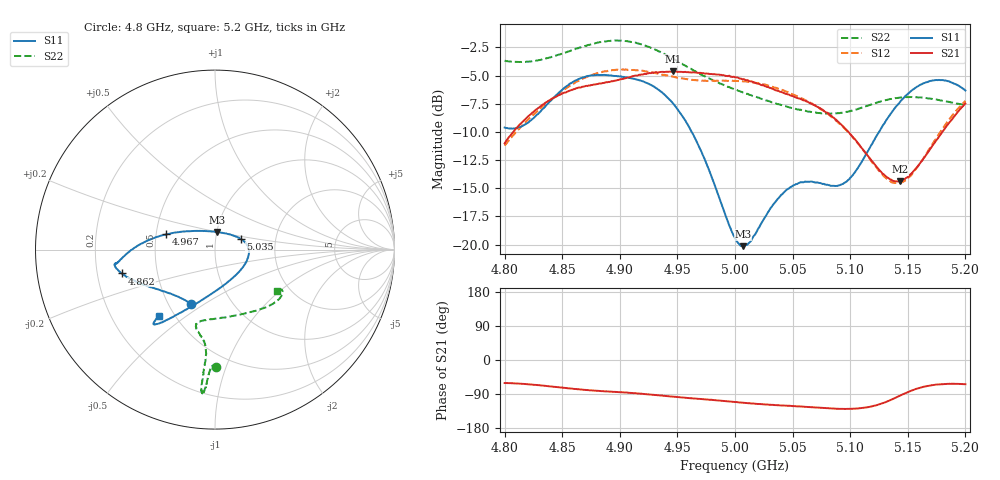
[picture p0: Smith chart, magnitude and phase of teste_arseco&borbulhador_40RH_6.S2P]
! Network Analyzer HP8722D
! Hewlett-Packard
! Data name: Linha & Wilkinson
! Saver's name: Rodrigo Anjos
! Comments: Teste da utilização de aquisição
! continua pelo VNA HP8722D
! Time and date: 15/4/2025 16:24
!  Frequency  S11  S21  S12  S22
# HZ  S  MA R 50
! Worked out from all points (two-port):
!   401 points, 4.8 GHz to 5.2 GHz, reference 50 ohm
!   highest |S21| = -4.64 dB at 4.946 GHz (marker M1); lowest = -14.4 dB at 5.143 GHz (marker M2)
!   |S21| within 3 dB of the highest: 4.832 GHz to 5.069 GHz (236.8 MHz wide, 4.78 % of centre); 5.198541 GHz to end of sweep
!   lowest |S11| = -20.1 dB at 5.007 GHz (marker M3), VSWR 1.22, Z = 50.2 + j9.91 ohm
!   |S11| at or under -10 dB: 4.962 GHz to 5.125 GHz (162.6 MHz wide, 3.22 % of centre)
!   |S22| runs from -8.4 to -1.9 dB; largest |S21 - S12| = 0.88
!   S11 on the Smith chart (normalised r, x): 4.8 GHz: 0.65, -0.44; 4.862 GHz: 0.31, -0.11; 4.967 GHz: 0.57, +0.10; 5.035 GHz: 1.32, +0.16; 5.2 GHz: 0.41, -0.40
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4.8e9  0.3307 -113.8  0.2813 -60.8  0.2752 -175.1  0.6548 -89.4
4.819e9  0.3448 -133.6  0.3644 -63.8  0.3523 -173.4  0.648 -91.1
4.84e9  0.4343 -152.8  0.44 -69.7  0.4392 -173.6  0.6776 -92.5
4.862e9  0.5359 -165.6  0.4935 -76.5  0.5271 -176.2  0.741 -93.6
4.867e9  0.549 -167.5  0.5011 -78.2  0.5422 -177.3  0.7535 -93.6
4.901e9  0.5572 -172.1  0.5414 -85.1  0.5972 175.5  0.8036 -95.1
4.934e9  0.485 -178.0  0.5816 -93.2  0.5727 172.0  0.7195 -95.6
4.946e9  0.4242 176.5  0.5863 -96.7  0.5563 172.1  0.6695 -95.4
4.967e9  0.2842 162.6  0.5792 -102.0  0.5356 173.9  0.5804 -94.8
5e9  0.107 107.3  0.5522 -111.0  0.5336 176.5  0.4878 -99.2
5.007e9  0.09848 83.4  0.5424 -112.7  0.5295 176.3  0.4728 -101.0
5.013e9  0.1027 64.6  0.5302 -114.3  0.526 176.3  0.4613 -102.2
5.035e9  0.1545 23.0  0.4841 -118.9  0.4968 175.2  0.4239 -103.8
5.05e9  0.1822 7.1  0.4559 -121.7  0.464 174.5  0.4032 -100.4
5.067e9  0.1902 -11.2  0.4199 -124.7  0.4228 174.0  0.3877 -91.9
5.087e9  0.1821 -43.7  0.3603 -128.8  0.3577 173.9  0.3823 -76.9
5.097e9  0.1908 -64.8  0.3214 -129.1  0.3208 174.5  0.3884 -68.5
5.134e9  0.3732 -116.1  0.1959 -107.0  0.1923 -159.8  0.4415 -43.3
5.143e9  0.4278 -121.0  0.1907 -94.4  0.1877 -145.7  0.4486 -39.4
5.154e9  0.4859 -125.0  0.209 -79.8  0.2066 -128.8  0.4512 -35.6
5.171e9  0.5339 -128.7  0.2722 -66.5  0.2773 -112.4  0.4431 -31.8
5.2e9  0.4828 -130.3  0.4224 -64.0  0.434 -106.0  0.4154 -33.4
